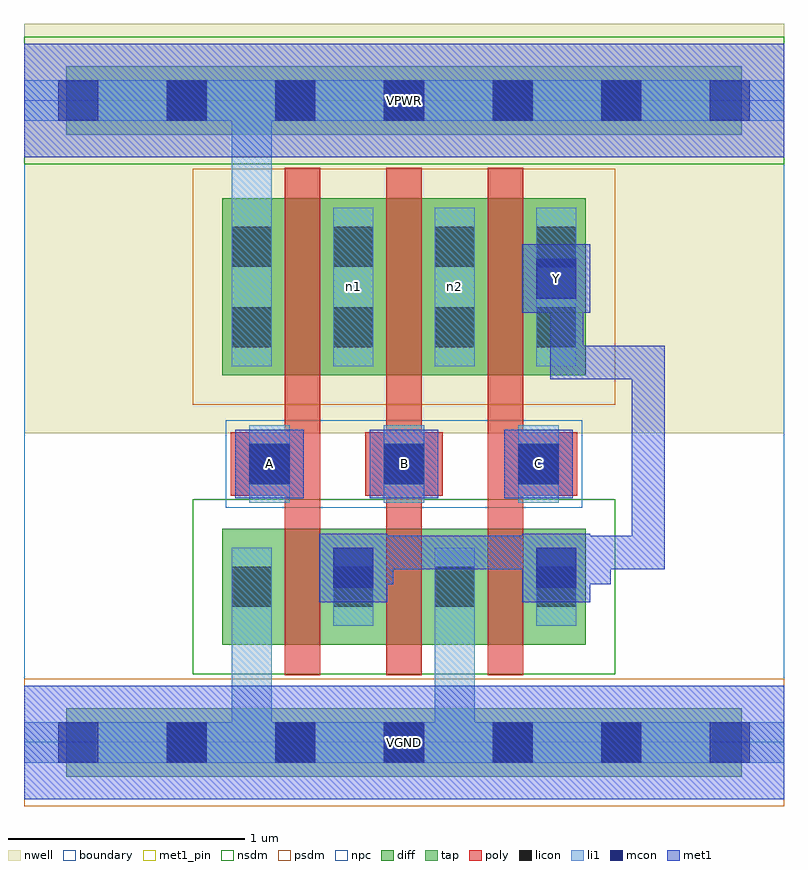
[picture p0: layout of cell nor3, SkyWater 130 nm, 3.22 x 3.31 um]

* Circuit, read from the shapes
.subckt nor3 A B C VGND VPWR Y n1 n2
XM1 Y A VGND VGND sky130_fd_pr__nfet_01v8 w=0.49 l=0.15
XM2 VGND B Y VGND sky130_fd_pr__nfet_01v8 w=0.49 l=0.15
XM3 Y C VGND VGND sky130_fd_pr__nfet_01v8 w=0.49 l=0.15
XM4 n1 A VPWR VPWR sky130_fd_pr__pfet_01v8 w=0.75 l=0.15
XM5 n2 B n1 VPWR sky130_fd_pr__pfet_01v8 w=0.75 l=0.15
XM6 Y C n2 VPWR sky130_fd_pr__pfet_01v8 w=0.75 l=0.15
.ends

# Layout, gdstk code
import gdstk
lib = gdstk.Library(unit=1e-6, precision=1e-09)
def R(c, l, rs):  # rectangles x0, y0, x1, y1
    for r in rs: c.add(gdstk.rectangle(r[:2], r[2:], *l))
def A(c, l, x, y, w, h, nx, ny, dx, dy):  # array of equal rectangles
    R(c, l, [(x+i*dx, y+j*dy, x+i*dx+w, y+j*dy+h) for i in range(nx) for j in range(ny)])
nwell = (64, 20)
diff = (65, 20)
tap = (65, 44)
poly = (66, 20)
licon = (66, 44)
li1 = (67, 20)
mcon = (67, 44)
met1_pin = (68, 16)
met1 = (68, 20)
nsdm = (93, 44)
psdm = (94, 20)
npc = (95, 20)
boundary = (235, 4)

nor3 = lib.new_cell('nor3')
R(nor3, nwell, [(0,1.31,3.22,3.045)])
R(nor3, diff, [(0.84,0.415,2.38,0.905), (0.84,1.555,2.38,2.305)])
R(nor3, tap, [(0.18,-0.145,3.04,0.145), (0.18,2.575,3.04,2.865)])
A(nor3, poly, 1.105, 0.285, 0.15, 2.15, 3, 1, 0.43, 0)
A(nor3, poly, 0.875, 1.045, 0.33, 0.27, 3, 1, 0.57, 0)
A(nor3, licon, 0.605, -0.085, 0.17, 0.17, 5, 2, 0.46, 2.72)
A(nor3, licon, 0.88, 0.575, 0.17, 0.17, 4, 2, 0.43, 1.1)
A(nor3, licon, 0.955, 1.095, 0.17, 0.17, 3, 1, 0.57, 0)
A(nor3, licon, 0.88, 2.015, 0.17, 0.17, 4, 1, 0.43, 0)
A(nor3, li1, 0.88, 0.495, 0.17, 0.33, 4, 1, 0.43, 0)
A(nor3, li1, 0.955, 1.015, 0.17, 0.33, 3, 1, 0.57, 0)
A(nor3, li1, 0.88, 1.595, 0.17, 0.67, 4, 1, 0.43, 0)
R(nor3, li1, [(0,-0.085,3.22,0.085), (0.88,-0.085,1.05,0.825), (1.74,-0.085,1.91,0.825), (0.88,1.595,1.05,2.805), (0,2.635,3.22,2.805)])
A(nor3, mcon, 0.145, -0.085, 0.17, 0.17, 7, 2, 0.46, 2.72)
A(nor3, mcon, 0.955, 1.095, 0.17, 0.17, 3, 1, 0.57, 0)
R(nor3, mcon, [(1.31,0.655,1.48,0.825), (2.17,0.655,2.34,0.825), (2.17,1.88,2.34,2.05)])
A(nor3, met1_pin, 0.895, 1.035, 0.29, 0.29, 3, 1, 0.57, 0)
R(nor3, met1_pin, [(0,-0.24,3.22,0.24), (2.11,1.82,2.4,2.11), (0,2.48,3.22,2.96)])
A(nor3, met1, 0.895, 1.035, 0.29, 0.29, 3, 1, 0.57, 0)
R(nor3, met1, [(0,-0.24,3.22,0.24), (1.25,0.595,1.54,0.885), (2.11,0.595,2.4,0.885), (1.325,0.67,1.565,0.81), (1.425,0.67,1.565,0.875), (2.185,0.67,2.485,0.81), (2.345,0.67,2.485,0.875), (1.425,0.735,2.485,0.875), (2.345,0.735,2.715,0.875), (2.4,0.735,2.485,0.81), (2.4,0.735,2.485,0.81), (2.4,0.735,2.485,0.81), (2.4,0.735,2.485,0.81), (2.4,0.735,2.485,0.81), (2.4,0.735,2.485,0.81), (2.4,0.735,2.485,0.81), (2.4,0.735,2.485,0.81), (2.4,0.735,2.485,0.81), (2.4,0.735,2.485,0.81), (2.4,0.735,2.485,0.81), (2.4,0.735,2.485,0.81), (2.4,0.735,2.485,0.875), (2.4,0.735,2.485,0.875), (2.4,0.735,2.485,0.875), (2.4,0.735,2.485,0.875), (2.4,0.735,2.485,0.875), (2.4,0.735,2.485,0.875), (2.4,0.735,2.485,0.875), (2.4,0.735,2.485,0.875), (2.4,0.735,2.485,0.875), (2.4,0.735,2.485,0.875), (2.4,0.735,2.485,0.875), (2.4,0.735,2.485,0.875), (2.4,0.735,2.485,0.875), (2.4,0.735,2.485,0.875), (2.4,0.735,2.485,0.875), (2.485,0.735,2.575,0.81), (2.485,0.735,2.575,0.81), (2.485,0.735,2.575,0.81), (2.485,0.735,2.575,0.81), (2.485,0.735,2.575,0.81), (2.485,0.735,2.575,0.81), (2.485,0.735,2.575,0.81), (2.485,0.735,2.575,0.81), (2.485,0.735,2.575,0.81), (2.485,0.735,2.575,0.81), (2.485,0.735,2.575,0.81), (2.485,0.735,2.575,0.81), (2.485,0.735,2.575,0.81), (2.485,0.735,2.575,0.81), (2.485,0.735,2.575,0.875), (2.485,0.735,2.575,0.875), (2.485,0.735,2.575,0.875), (2.485,0.735,2.575,0.875), (2.485,0.735,2.575,0.875), (2.485,0.735,2.575,0.875), (2.485,0.735,2.575,0.875), (2.485,0.735,2.575,0.875), (2.485,0.735,2.575,0.875), (2.485,0.735,2.575,0.875), (2.485,0.735,2.575,0.875), (2.485,0.735,2.575,0.875), (2.485,0.735,2.575,0.875), (2.485,0.735,2.575,0.875), (2.485,0.735,2.575,0.875), (2.485,0.735,2.575,0.875), (2.485,0.735,2.575,0.875), (2.485,0.735,2.575,0.875), (2.575,0.735,2.715,1.68), (2.23,1.54,2.37,2.025), (2.23,1.54,2.715,1.68), (2.11,1.82,2.4,2.11), (2.23,1.885,2.37,2.025), (0,2.48,3.22,2.96)])
R(nor3, nsdm, [(0.715,0.29,2.505,1.03), (0,2.45,3.22,2.99)])
R(nor3, psdm, [(0,-0.27,3.22,0.27), (0.715,1.43,2.505,2.43)])
R(nor3, npc, [(0.855,0.995,2.365,1.365)])
R(nor3, boundary, [(0,0,3.22,2.72)])
nor3.add(gdstk.Label('n1', (1.395,1.93), layer=67, texttype=5))
nor3.add(gdstk.Label('n2', (1.825,1.93), layer=67, texttype=5))
nor3.add(gdstk.Label('A', (1.04,1.18), layer=68, texttype=5))
nor3.add(gdstk.Label('B', (1.61,1.18), layer=68, texttype=5))
nor3.add(gdstk.Label('C', (2.18,1.18), layer=68, texttype=5))
nor3.add(gdstk.Label('Y', (2.255,1.965), layer=68, texttype=5))
nor3.add(gdstk.Label('VPWR', (1.61,2.72), layer=68, texttype=5))
nor3.add(gdstk.Label('VGND', (1.61,0), layer=68, texttype=5))
nor3.add(gdstk.Label('A', (1.04,1.18), layer=68, texttype=16))
nor3.add(gdstk.Label('B', (1.61,1.18), layer=68, texttype=16))
nor3.add(gdstk.Label('C', (2.18,1.18), layer=68, texttype=16))
nor3.add(gdstk.Label('Y', (2.255,1.965), layer=68, texttype=16))
nor3.add(gdstk.Label('VPWR', (1.61,2.72), layer=68, texttype=16))
nor3.add(gdstk.Label('VGND', (1.61,0), layer=68, texttype=16))

lib.write_gds('nor3.gds')
